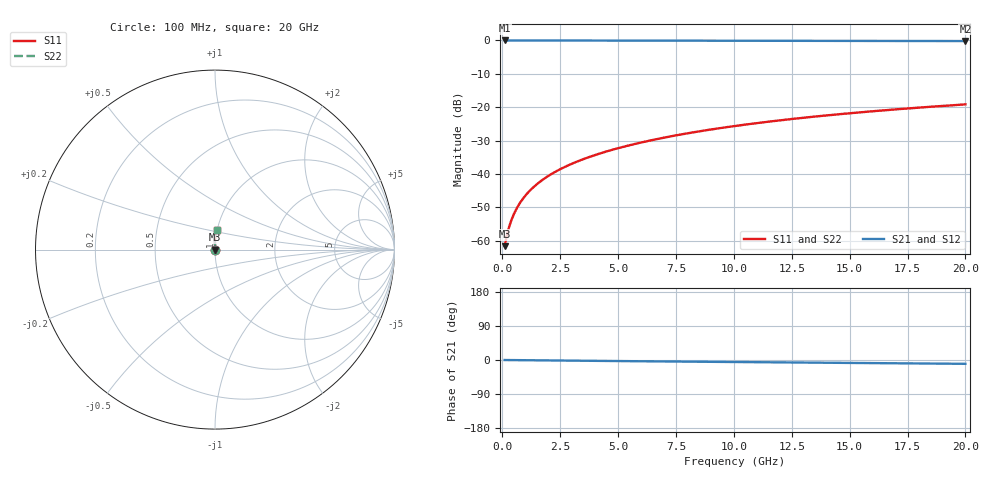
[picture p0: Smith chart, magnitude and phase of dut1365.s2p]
! Touchstone file exported from HFSS 2024.1.0
!  File:  C:/UserFiles/LocalFiles/RDL_TSV_Batchsim/temp_RDL_top_1365_1780366730.aedt
!  Generated:  10:21:02 AM Jun  2, 2026
!  Design:  RDL_top
!  Project:  temp_RDL_top_1365_1780366730
!  Setup:  Setup1
!  Solution:  Sweep
! Variables:
!  dtsv = 10.80580581um
!  hbump = 3um
!  htsv = 76.44um
!  ldown = 100um
!  lrdl = 117.79um
!  p = 40
!  p1 = 48.39um
!  rhole = 1um
!  t = 450um
!  tdown = 3.915915916um
!  trdl = 3.9um
!  wdown = 15.38538539um
!  wrdl = 24.34um
# GHz S MA R 50.000000
! Terminal data exported
! Port[1] = Box2_T1
! Port[2] = Box2_T2
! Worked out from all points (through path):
!   200 points, 100 MHz to 20 GHz, reference 50 ohm
!   highest |S21| = -0.01 dB at 100 MHz (marker M1); lowest = -0.2 dB at 20 GHz (marker M2)
!   group delay of S21, straight-line fit = 1.38 ps
!   lowest |S11| = -61.6 dB at 100 MHz (marker M3), VSWR 1.00, Z = 50.1 + j0.0517 ohm
!   |S11| at or under -10 dB: start of sweep to end of sweep
!   |S22| runs from -61.6 to -19.1 dB; largest |S21 - S12| = 5.2e-15
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0.1  0.0008313 38.4  0.9993 -0.1  0.9993 -0.1  0.0008313 38.4
! Gamma 0 0 0 0
! Port Impedance 50 0 50 0
0.2  0.001219 55.8  0.9993 -0.1  0.9993 -0.1  0.001219 55.8
0.3  0.001642 64.2  0.9993 -0.2  0.9993 -0.2  0.001642 64.2
0.4  0.002074 69.3  0.9992 -0.2  0.9992 -0.2  0.002074 69.3
0.5  0.002512 72.8  0.9992 -0.3  0.9992 -0.3  0.002512 72.8
0.6  0.002955 75.4  0.9992 -0.4  0.9992 -0.4  0.002955 75.4
0.8  0.003853 78.9  0.9991 -0.5  0.9991 -0.5  0.003853 78.9
1.1  0.005221 82.2  0.999 -0.6  0.999 -0.6  0.005221 82.2
1.5  0.007072 84.7  0.9988 -0.9  0.9988 -0.9  0.007072 84.7
1.8  0.008476 86.0  0.9986 -1.0  0.9986 -1.0  0.008476 86.0
2.1  0.009894 87.0  0.9984 -1.2  0.9984 -1.2  0.009894 87.0
2.7  0.01277 88.4  0.9979 -1.6  0.9979 -1.6  0.01277 88.4
3.5  0.0167 89.7  0.9971 -2.0  0.9971 -2.0  0.0167 89.7
4.2  0.02022 90.4  0.9964 -2.4  0.9964 -2.4  0.02022 90.4
5  0.02435 90.9  0.9954 -2.8  0.9954 -2.8  0.02435 90.9
5.9  0.02912 91.3  0.9943 -3.3  0.9943 -3.3  0.02912 91.3
6.8  0.03402 91.4  0.9931 -3.8  0.9931 -3.8  0.03402 91.4
8.4  0.04295 91.2  0.991 -4.6  0.991 -4.6  0.04295 91.2
10.1  0.05267 90.6  0.9889 -5.4  0.9889 -5.4  0.05267 90.6
13.4  0.07188 88.9  0.9851 -7.0  0.9851 -7.0  0.07188 88.9
16.7  0.09115 86.9  0.9816 -8.5  0.9816 -8.5  0.09115 86.9
20  0.1103 84.9  0.9782 -10.1  0.9782 -10.1  0.1103 84.9
